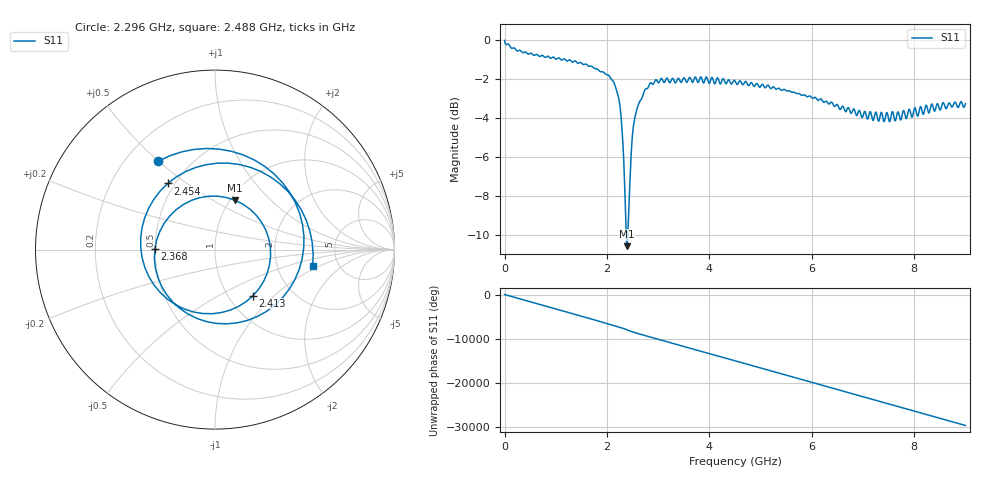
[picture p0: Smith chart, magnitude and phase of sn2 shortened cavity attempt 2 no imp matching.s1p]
# Hz S DB R 50
! CMT, C1209, 21460007, 21.4.4/2
! Date: 4/14/2023 1:39:37 PM
! Data: Format (Calibration Info)
! Freq	S11:dB/Ang(--)
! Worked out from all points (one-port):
!   5000 points, 100 kHz to 9 GHz, reference 50 ohm
!   lowest |S11| = -10.6 dB at 2.389 GHz (marker M1), VSWR 1.84, Z = 52.9 + j31.8 ohm
!   |S11| at or under -10 dB: 2.374 GHz to 2.406 GHz (31.8 MHz wide, 1.33 % of centre)
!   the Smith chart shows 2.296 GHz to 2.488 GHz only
!   S11 on the Smith chart (normalised r, x): 2.296 GHz: 0.33, +0.50; 2.368 GHz: 0.50, +0.00; 2.413 GHz: 1.30, -0.75; 2.454 GHz: 0.46, +0.43; 2.488 GHz: 3.22, -0.84
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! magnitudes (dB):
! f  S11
! 100 kHz  0.0
! 354.8 MHz  -0.6
! 1.125 GHz  -1.0
! 1.597 GHz  -1.2
! 2.027 GHz  -1.8
! 2.162 GHz  -2.4
! 2.215 GHz  -2.8
! 2.251 GHz  -3.3
! 2.296 GHz  -4.7
! 2.315 GHz  -5.5
! 2.368 GHz  -9.5
! 2.389 GHz  -10.6
! 2.413 GHz  -9.6
! 2.427 GHz  -8.6
! 2.454 GHz  -6.9
! 2.488 GHz  -5.2
! 2.522 GHz  -4.3
! 2.569 GHz  -3.7
! 2.755 GHz  -2.5
! 2.951 GHz  -2.0
! 3.376 GHz  -2.0
! 4.501 GHz  -2.1
! 5.626 GHz  -2.7
! 6.751 GHz  -3.7
! 7.412 GHz  -4.2
! 7.877 GHz  -3.7
! 8.566 GHz  -3.2
! 9 GHz  -3.3
